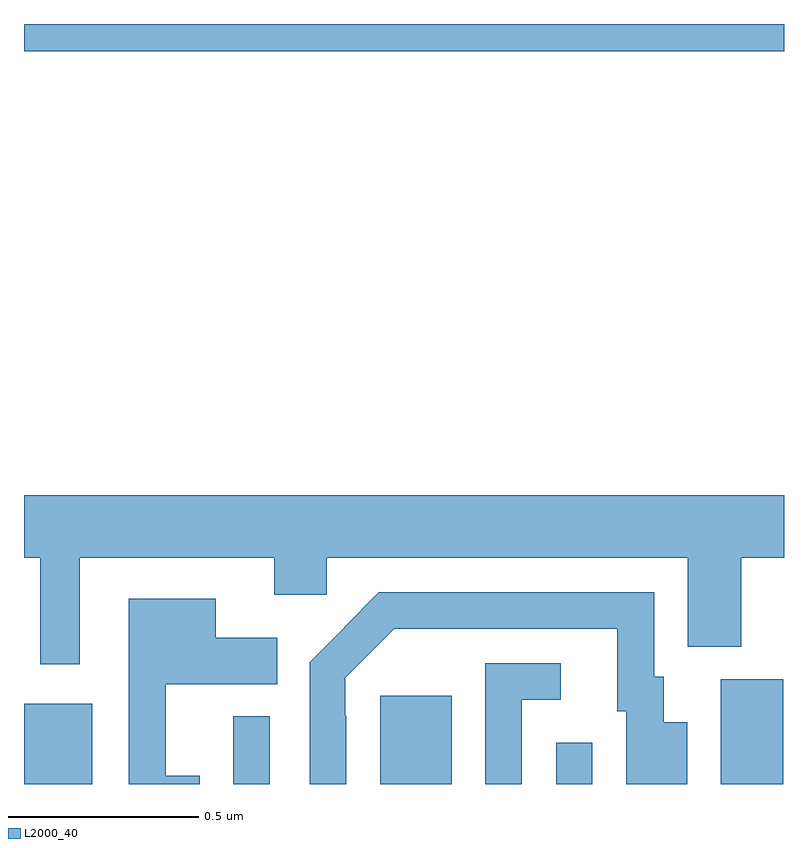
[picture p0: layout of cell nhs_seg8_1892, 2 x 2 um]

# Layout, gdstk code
import gdstk
lib = gdstk.Library(unit=1e-6, precision=1e-09)
def R(c, l, rs):  # rectangles x0, y0, x1, y1
    for r in rs: c.add(gdstk.rectangle(r[:2], r[2:], *l))
def P(c, l, *ps):  # polygons
    for p in ps: c.add(gdstk.Polygon(p, *l))
L2000_40 = (2000, 40)

nhs_seg8_1892 = lib.new_cell('nhs_seg8_1892')
R(nhs_seg8_1892, L2000_40, [(136,1119.9,136.18,1120.111), (136.551,1119.9,136.647,1120.078), (136.937,1119.9,137.125,1120.132), (137.4,1119.9,137.496,1120.009), (137.834,1119.9,137.998,1120.176), (136,1121.828,138,1121.9)])
P(nhs_seg8_1892, L2000_40, [(136.147,1120.496),(136.658,1120.496),(136.658,1120.398),(136.797,1120.398),(136.797,1120.496),(137.747,1120.496),(137.747,1120.261),(137.887,1120.261),(137.887,1120.496),(138,1120.496),(138,1120.66),(136,1120.66),(136,1120.496),(136.043,1120.496),(136.043,1120.215),(136.147,1120.215)],
  [(136.848,1120.079),(136.845,1120.079),(136.845,1120.179),(136.974,1120.308),(137.561,1120.308),(137.561,1120.092),(137.585,1120.092),(137.585,1119.9),(137.746,1119.9),(137.746,1120.063),(137.683,1120.063),(137.683,1120.182),(137.658,1120.182),(137.658,1120.404),(136.934,1120.404),(136.843,1120.313),(136.844,1120.312),(136.752,1120.221),(136.752,1119.9),(136.848,1119.9)],
  [(136.462,1119.922),(136.373,1119.922),(136.373,1120.163),(136.667,1120.163),(136.667,1120.285),(136.504,1120.285),(136.504,1120.387),(136.275,1120.387),(136.275,1119.9),(136.462,1119.9)],
  [(137.31,1120.122),(137.413,1120.122),(137.413,1120.218),(137.214,1120.218),(137.214,1119.9),(137.31,1119.9)])

lib.write_gds('nhs_seg8_1892.gds')
